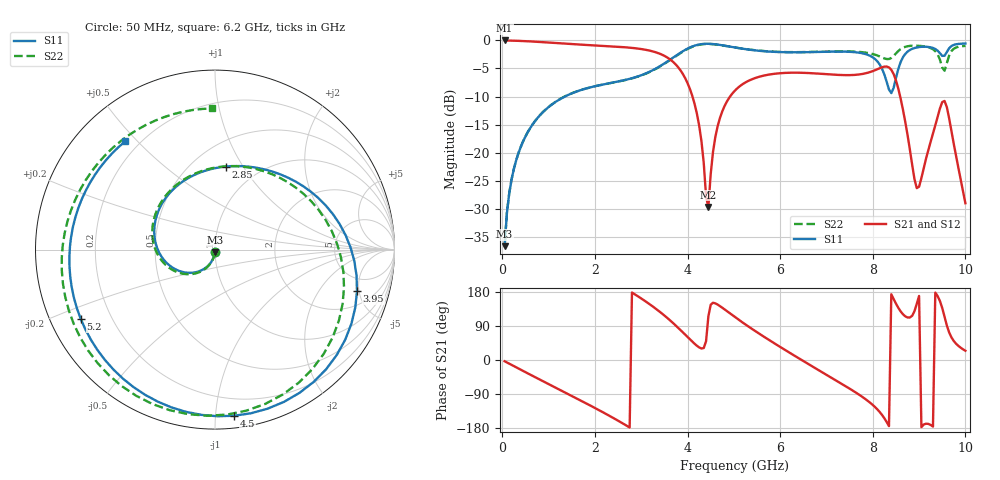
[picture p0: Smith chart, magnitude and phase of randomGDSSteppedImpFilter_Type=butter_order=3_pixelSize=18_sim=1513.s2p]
! freq	dB(S11)	phase(S11)	dB(S12)	phase(S12)
!  dB(S21)	phase(S21)	dB(S22)	phase(S22)
!S-par simulation data
#  GHz  S  DB  R 50
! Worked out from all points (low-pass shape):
!   200 points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, 50 MHz to 10 GHz, reference 50 ohm
!   highest |S21| = -0.01 dB at 50 MHz (marker M1); lowest = -29.7 dB at 4.45 GHz (marker M2)
!   |S21| within 3 dB of the highest: start of sweep to 3.554 GHz
!   lowest |S11| = -36.7 dB at 50 MHz (marker M3), VSWR 1.03, Z = 49.9 - j1.46 ohm
!   |S11| at or under -10 dB: start of sweep to 1.351 GHz
!   |S22| runs from -36.7 to -0.6 dB; largest |S21 - S12| = 0
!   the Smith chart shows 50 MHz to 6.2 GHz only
!   S11 on the Smith chart (normalised r, x): 50 MHz: 1.00, -0.03; 2.85 GHz: 0.71, +0.84; 3.95 GHz: 3.30, -4.76; 4.5 GHz: 0.08, -1.12; 5.2 GHz: 0.09, -0.24; 6.2 GHz: 0.15, +0.46
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0.05  -36.68 -93.0  -0.01 -3.3  -0.01 -3.3  -36.68 -92.8
0.2  -24.80 -103.4  -0.04 -12.9  -0.04 -12.9  -24.79 -102.6
0.5  -17.12 -123.6  -0.13 -32.1  -0.13 -32.1  -17.12 -121.4
1.75  -8.71 155.5  -0.78 -110.6  -0.78 -110.6  -8.71 162.0
2.85  -6.62 82.6  -1.38 174.3  -1.38 174.3  -6.65 84.4
3.4  -4.62 40.2  -2.37 127.3  -2.37 127.3  -4.68 32.0
3.95  -1.68 -16.3  -6.74 66.8  -6.74 66.8  -1.74 -36.8
4.25  -0.73 -53.3  -15.12 33.3  -15.12 33.3  -0.78 -78.9
4.45  -0.60 -77.6  -29.70 115.1  -29.70 115.1  -0.63 -105.7
4.5  -0.61 -83.4  -23.86 145.9  -23.86 145.9  -0.65 -112.1
5.05  -1.30 -139.5  -8.73 111.0  -8.73 111.0  -1.30 -172.2
5.2  -1.49 -152.7  -7.75 98.0  -7.75 98.0  -1.49 173.8
6.2  -2.12 129.6  -5.76 19.5  -5.76 19.5  -2.09 91.3
6.7  -2.08 93.3  -5.85 -17.3  -5.85 -17.3  -2.05 53.3
7.8  -2.34 6.5  -5.94 -99.5  -5.94 -99.5  -2.12 -21.4
8.1  -3.74 -34.1  -5.13 -130.4  -5.13 -130.4  -2.69 -37.9
8.35  -8.76 -123.7  -4.81 -174.6  -4.81 -174.6  -3.31 -42.7
8.5  -6.73 127.1  -7.10 149.0  -7.10 149.0  -2.31 -44.1
8.65  -3.02 70.1  -12.27 121.0  -12.27 121.0  -1.31 -53.6
8.95  -1.26 20.0  -26.33 148.2  -26.33 148.2  -0.94 -74.1
9.55  -2.73 -15.1  -10.79 113.9  -10.79 113.9  -5.40 -92.3
10  -0.55 -37.9  -29.03 24.4  -29.03 24.4  -0.98 -109.3
